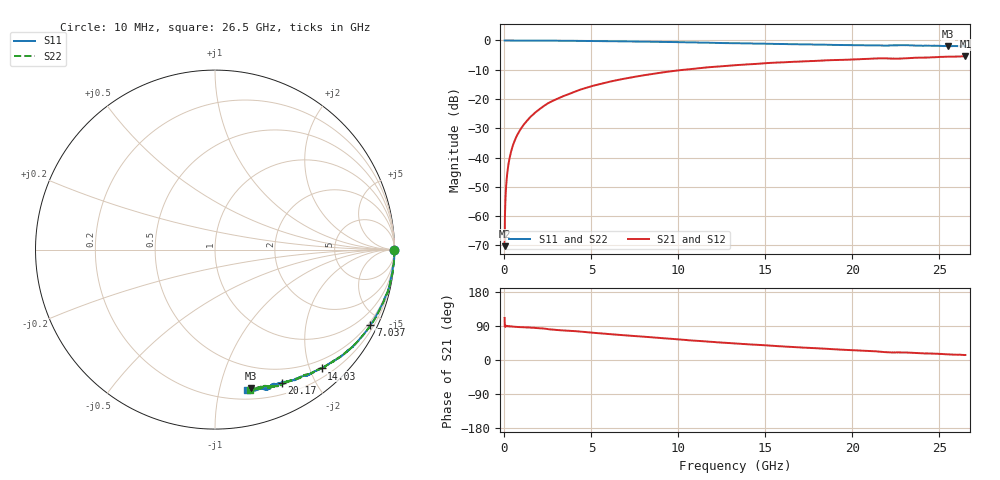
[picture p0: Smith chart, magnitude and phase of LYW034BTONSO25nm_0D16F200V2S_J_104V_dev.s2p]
!Keysight Technologies,N5222B,MY61253708,A.15.00.15
!Date: Wednesday, June 19, 2024 09:39:50
!Correction: S11(C  2-Port  )
!S21(C  2-Port  )
!S12(C  2-Port  )
!S22(C  2-Port  )
!S2P File: Measurements: S11, S21, S12, S22:
# Hz S  RI  R 50
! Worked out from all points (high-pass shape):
!   2651 points, 10 MHz to 26.5 GHz, reference 50 ohm
!   highest |S21| = -5.38 dB at 26.5 GHz (marker M1); lowest = -70.3 dB at 10 MHz (marker M2)
!   |S21| within 3 dB of the highest: 13.44 GHz to end of sweep
!   lowest |S11| = -2.0 dB at 25.5 GHz (marker M3), VSWR 8.79, Z = 14.8 - j62.3 ohm
!   |S11| at or under -10 dB: nowhere
!   |S22| runs from -1.9 to 0.0 dB; largest |S21 - S12| = 0.0068
!   S11 on the Smith chart (normalised r, x): 10 MHz: open; 7.037 GHz: 0.37, -4.31; 14.03 GHz: 0.35, -2.20; 20.17 GHz: 0.32, -1.57; 26.5 GHz: 0.27, -1.22
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1e7  0.9986 -0.00263  -0.00011 0.000286  7.6e-05 -6.64e-05  0.9988 -0.00108
1.499472e8  0.9999 -0.0109  4.81e-05 0.00497  3.84e-05 0.005  0.9996 -0.0102
1.799358e8  0.9999 -0.0122  6.16e-05 0.00596  7.55e-05 0.00602  0.9996 -0.0115
2.199208e8  0.9998 -0.0151  0.000132 0.00729  0.000116 0.00736  0.9994 -0.0143
3.098868e8  0.9995 -0.021  0.000209 0.0102  0.000198 0.0104  0.9992 -0.02
4.298415e8  0.9993 -0.029  0.000414 0.0142  0.000391 0.0143  0.9995 -0.028
5.797849e8  0.9984 -0.0389  0.000746 0.0192  0.000735 0.0193  0.9988 -0.0377
7.59717e8  0.9982 -0.0508  0.00126 0.025  0.00125 0.0253  0.9984 -0.05
1.049608e9  0.9975 -0.0714  0.0022 0.0344  0.00221 0.0347  0.9961 -0.069
1.399475e9  0.9911 -0.0958  0.0032 0.0459  0.0033 0.0462  0.9936 -0.091
2.279143e9  0.9827 -0.1493  0.00937 0.0759  0.00956 0.0765  0.9845 -0.1488
3.128823e9  0.9712 -0.2032  0.0202 0.1017  0.0205 0.1024  0.972 -0.2011
4.428332e9  0.942 -0.2815  0.0385 0.1418  0.039 0.1428  0.9443 -0.2776
7.037347e9  0.8663 -0.4214  0.0968 0.2047  0.0982 0.2056  0.8694 -0.4186
8.846664e9  0.8014 -0.5033  0.1454 0.2369  0.1472 0.2376  0.8046 -0.5001
1.3255e10  0.6246 -0.643  0.2729 0.261  0.2756 0.2606  0.631 -0.6401
1.403471e10  0.5942 -0.6623  0.2936 0.2586  0.2956 0.2582  0.5997 -0.6561
1.767333e10  0.452 -0.7216  0.3792 0.2329  0.3829 0.231  0.4657 -0.7182
2.017239e10  0.3709 -0.7449  0.4275 0.2062  0.4304 0.2031  0.3876 -0.7434
2.209166e10  0.3168 -0.7533  0.4616 0.1708  0.4637 0.1674  0.3146 -0.7597
2.550038e10  0.1982 -0.7706  0.5106 0.1341  0.5122 0.1331  0.2219 -0.7742
2.65e10  0.1789 -0.7849  0.5241 0.1228  0.5237 0.1185  0.1954 -0.784
